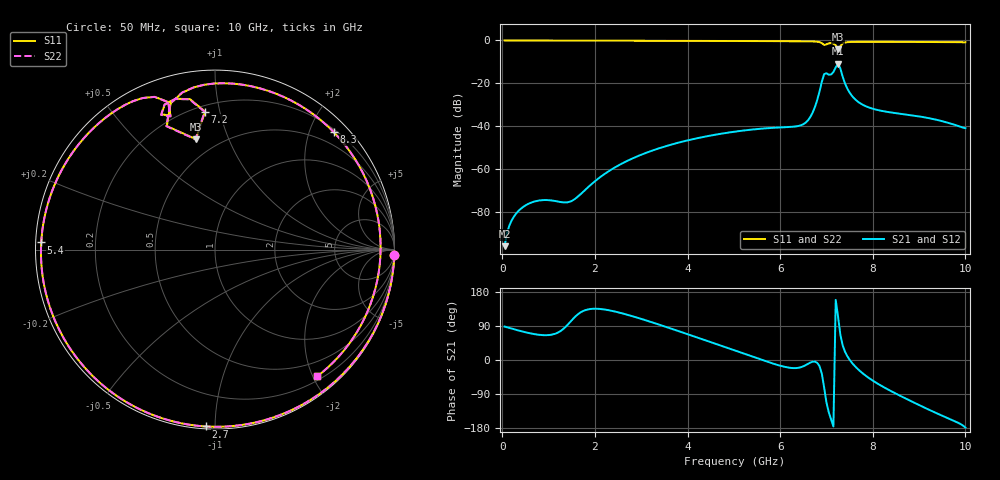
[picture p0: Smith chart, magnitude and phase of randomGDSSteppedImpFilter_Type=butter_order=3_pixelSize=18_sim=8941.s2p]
! freq	dB(S11)	phase(S11)	dB(S12)	phase(S12)
!  dB(S21)	phase(S21)	dB(S22)	phase(S22)
!S-par simulation data
#  GHz  S  DB  R 50
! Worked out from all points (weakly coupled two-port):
!   200 points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, 50 MHz to 10 GHz, reference 50 ohm
!   highest |S21| = -10.80 dB at 7.25 GHz (marker M1); lowest = -95.7 dB at 50 MHz (marker M2)
!   lowest |S11| = -4.1 dB at 7.25 GHz (marker M3), VSWR 4.33, Z = 19 + j38.4 ohm
!   |S11| at or under -10 dB: nowhere
!   |S22| runs from -4.1 to 0.0 dB; largest |S21 - S12| = 0
!   S11 on the Smith chart (normalised r, x): 50 MHz: 1, -63; 2.7 GHz: 0.01, -0.95; 5.4 GHz: 0.02, +0.02; 7.2 GHz: 0.24, +0.90; 8.3 GHz: 0.25, +2.41; 10 GHz: 0.26, -2.06
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0.05  -0.00 -1.8  -95.72 88.2  -95.72 88.2  -0.00 -1.8
0.3  -0.01 -10.8  -80.52 79.5  -80.52 79.5  -0.01 -10.8
0.8  -0.03 -28.6  -74.44 66.4  -74.44 66.4  -0.03 -28.6
1.4  -0.06 -49.5  -75.37 91.5  -75.37 91.5  -0.06 -49.5
1.75  -0.08 -61.5  -70.34 129.5  -70.34 129.5  -0.08 -61.5
2.7  -0.12 -93.0  -56.02 119.4  -56.02 119.4  -0.12 -93.0
3.4  -0.15 -115.6  -50.08 92.8  -50.08 92.8  -0.15 -115.6
5.05  -0.25 -169.9  -42.35 23.8  -42.35 23.8  -0.25 -169.8
5.4  -0.27 177.7  -41.45 8.9  -41.45 8.9  -0.27 177.7
6.4  -0.37 137.2  -39.77 -20.5  -39.77 -20.5  -0.37 137.3
6.7  -0.45 122.0  -33.65 -4.5  -33.65 -4.5  -0.45 122.0
6.95  -2.10 108.4  -15.65 -72.9  -15.65 -72.9  -2.14 108.4
7.05  -1.34 109.0  -15.94 -138.0  -15.94 -138.0  -1.36 109.3
7.2  -2.26 94.1  -12.53 158.7  -12.53 158.7  -2.27 94.3
7.25  -4.09 99.8  -10.80 114.9  -10.80 114.9  -4.09 100.1
7.3  -2.63 111.3  -13.05 66.9  -13.05 66.9  -2.63 111.5
7.35  -1.40 106.8  -16.85 38.6  -16.85 38.6  -1.40 107.0
7.6  -0.64 86.8  -26.99 -14.4  -26.99 -14.4  -0.64 87.0
8.3  -0.62 44.8  -33.19 -76.0  -33.19 -76.0  -0.62 44.9
8.35  -0.63 41.8  -33.37 -79.2  -33.37 -79.2  -0.63 41.9
9.15  -0.71 -5.3  -35.90 -127.6  -35.90 -127.6  -0.71 -5.1
10  -0.85 -51.1  -40.85 -178.2  -40.85 -178.2  -0.85 -51.1
